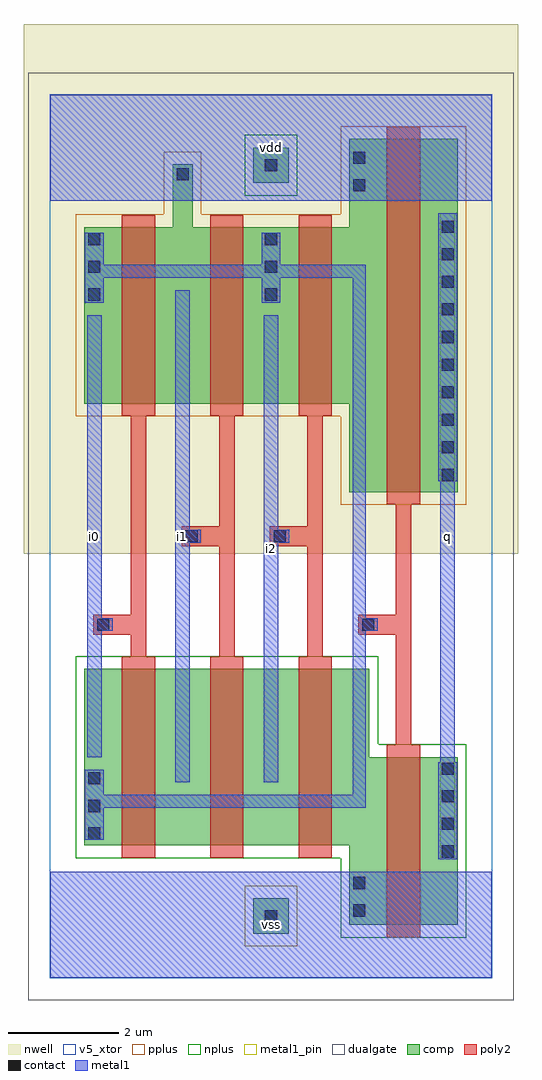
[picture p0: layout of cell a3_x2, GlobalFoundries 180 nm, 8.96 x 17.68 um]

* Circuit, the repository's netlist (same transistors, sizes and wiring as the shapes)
* a3_x2
.subckt a3_x2 vdd q vss i0 i1 i2
Mp_net1_1 vdd _net1 q vdd pfet_06v0 l=0.6um w=6.4um
Mn_net1_1 vss _net1 q vss nfet_06v0 l=0.6um w=3.04um
Mp_i0_1 _net1 i0 vdd vdd pfet_06v0 l=0.6um w=3.2um
Mn_i0_1 _net1 i0 _net0 vss nfet_06v0 l=0.6um w=3.2um
Mn_i1_1 _net0 i1 _net2 vss nfet_06v0 l=0.6um w=3.2um
Mp_i1_1 vdd i1 _net1 vdd pfet_06v0 l=0.6um w=3.2um
Mn_i2_1 _net2 i2 vss vss nfet_06v0 l=0.6um w=3.2um
Mp_i2_1 _net1 i2 vdd vdd pfet_06v0 l=0.6um w=3.2um
.ends a3_x2

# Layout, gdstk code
import gdstk
lib = gdstk.Library(unit=1e-6, precision=1e-09)
def R(c, l, rs):  # rectangles x0, y0, x1, y1
    for r in rs: c.add(gdstk.rectangle(r[:2], r[2:], *l))
def A(c, l, x, y, w, h, nx, ny, dx, dy):  # array of equal rectangles
    R(c, l, [(x+i*dx, y+j*dy, x+i*dx+w, y+j*dy+h) for i in range(nx) for j in range(ny)])
def P(c, l, *ps):  # polygons
    for p in ps: c.add(gdstk.Polygon(p, *l))
nwell = (21, 0)
comp = (22, 0)
poly2 = (30, 0)
pplus = (31, 0)
nplus = (32, 0)
contact = (33, 0)
metal1 = (34, 0)
metal1_pin = (34, 10)
dualgate = (55, 0)
v5_xtor = (112, 1)

a3_x2 = lib.new_cell('a3_x2')
R(a3_x2, nwell, [(-0.48,7.68,8.48,17.28)])
R(a3_x2, comp, [(3.68,0.8,4.32,1.44), (3.68,14.4,4.32,15.04)])
P(a3_x2, comp, [(5.42,8.8),(5.42,10.4),(0.62,10.4),(0.62,13.6),(2.22,13.6),(2.22,14.74),(2.58,14.74),(2.58,13.6),(5.42,13.6),(5.42,15.2),(7.38,15.2),(7.38,8.8)],
  [(5.42,0.96),(5.42,2.4),(0.62,2.4),(0.62,5.6),(5.78,5.6),(5.78,4),(7.38,4),(7.38,0.96)])
P(a3_x2, poly2, [(6.1,0.74),(6.1,4.22),(6.26,4.22),(6.26,6.22),(5.58,6.22),(5.58,6.58),(6.26,6.58),(6.26,8.58),(6.1,8.58),(6.1,15.42),(6.7,15.42),(6.7,8.58),(6.54,8.58),(6.54,4.22),(6.7,4.22),(6.7,0.74)],
  [(1.3,2.18),(1.3,5.82),(1.46,5.82),(1.46,6.22),(0.78,6.22),(0.78,6.58),(1.46,6.58),(1.46,10.18),(1.3,10.18),(1.3,13.82),(1.9,13.82),(1.9,10.18),(1.74,10.18),(1.74,5.82),(1.9,5.82),(1.9,2.18)],
  [(2.9,2.18),(2.9,5.82),(3.06,5.82),(3.06,7.82),(2.38,7.82),(2.38,8.18),(3.06,8.18),(3.06,10.18),(2.9,10.18),(2.9,13.82),(3.5,13.82),(3.5,10.18),(3.34,10.18),(3.34,5.82),(3.5,5.82),(3.5,2.18)],
  [(4.5,2.18),(4.5,5.82),(4.66,5.82),(4.66,7.82),(3.98,7.82),(3.98,8.18),(4.66,8.18),(4.66,10.18),(4.5,10.18),(4.5,13.82),(5.1,13.82),(5.1,10.18),(4.94,10.18),(4.94,5.82),(5.1,5.82),(5.1,2.18)])
R(a3_x2, pplus, [(3.52,0.57,4.48,1.67)])
P(a3_x2, pplus, [(5.26,8.57),(5.26,10.17),(0.46,10.17),(0.46,13.83),(2.06,13.83),(2.06,14.97),(2.74,14.97),(2.74,13.83),(5.26,13.83),(5.26,15.43),(7.54,15.43),(7.54,8.57)])
R(a3_x2, nplus, [(3.52,14.17,4.48,15.27)])
P(a3_x2, nplus, [(5.26,0.73),(5.26,2.17),(0.46,2.17),(0.46,5.83),(5.94,5.83),(5.94,4.23),(7.54,4.23),(7.54,0.73)])
A(a3_x2, contact, 7.09, 2.18, 0.22, 0.22, 1, 4, 0, 0.5)
A(a3_x2, contact, 0.69, 2.505, 0.22, 0.22, 1, 3, 0, 0.5)
A(a3_x2, contact, 7.09, 9, 0.22, 0.22, 1, 10, 0, 0.5)
A(a3_x2, contact, 0.69, 12.27, 0.22, 0.22, 1, 3, 0, 0.5)
A(a3_x2, contact, 3.89, 12.27, 0.22, 0.22, 1, 3, 0, 0.5)
R(a3_x2, contact, [(3.89,1.01,4.11,1.23), (5.49,1.11,5.71,1.33), (5.49,1.61,5.71,1.83), (0.85,6.29,1.07,6.51), (5.65,6.29,5.87,6.51), (2.45,7.89,2.67,8.11), (4.05,7.89,4.27,8.11), (5.49,14.25,5.71,14.47), (2.29,14.45,2.51,14.67), (3.89,14.61,4.11,14.83), (5.49,14.75,5.71,14.97)])
R(a3_x2, metal1, [(0,0,8,1.92), (0,14.08,8,16)])
P(a3_x2, metal1, [(7.03,2.15),(7.03,3.905),(7.07,3.905),(7.07,8.995),(7.03,8.995),(7.03,13.85),(7.37,13.85),(7.37,8.995),(7.33,8.995),(7.33,3.905),(7.37,3.905),(7.37,2.15)],
  [(0.63,2.5),(0.63,3.77),(0.97,3.77),(0.97,3.315),(5.485,3.315),(5.485,12.685),(4.17,12.685),(4.17,12.23),(3.83,12.23),(3.83,12.685),(0.97,12.685),(0.97,12.23),(0.63,12.23),(0.63,13.495),(0.97,13.495),(0.97,12.915),(3.83,12.915),(3.83,13.495),(4.17,13.495),(4.17,12.915),(5.715,12.915),(5.715,6.515),(5.93,6.515),(5.93,6.285),(5.715,6.285),(5.715,3.085),(0.97,3.085),(0.97,2.5)],
  [(0.67,4),(0.67,12),(0.93,12),(0.93,6.515),(1.13,6.515),(1.13,6.285),(0.93,6.285),(0.93,4)],
  [(2.27,3.545),(2.27,12.455),(2.53,12.455),(2.53,8.115),(2.73,8.115),(2.73,7.885),(2.53,7.885),(2.53,3.545)],
  [(3.87,3.545),(3.87,12),(4.13,12),(4.13,8.115),(4.33,8.115),(4.33,7.885),(4.13,7.885),(4.13,3.545)])
R(a3_x2, metal1_pin, [(0,0,8,1.92), (7.07,2.15,7.33,13.85), (2.27,3.545,2.53,12.455), (3.87,3.545,4.13,12), (0.67,4,0.93,12), (0,14.08,8,16)])
R(a3_x2, dualgate, [(-0.4,-0.4,8.4,16.4)])
R(a3_x2, v5_xtor, [(-0.005,-0.005,8.005,16.005)])
a3_x2.add(gdstk.Label('vdd', (4,15.04), layer=34, texttype=10))
a3_x2.add(gdstk.Label('q', (7.2,8), layer=34, texttype=10))
a3_x2.add(gdstk.Label('vss', (4,0.96), layer=34, texttype=10))
a3_x2.add(gdstk.Label('i0', (0.8,8), layer=34, texttype=10))
a3_x2.add(gdstk.Label('i1', (2.4,8), layer=34, texttype=10))
a3_x2.add(gdstk.Label('i2', (4,7.773), layer=34, texttype=10))

lib.write_gds('a3_x2.gds')
